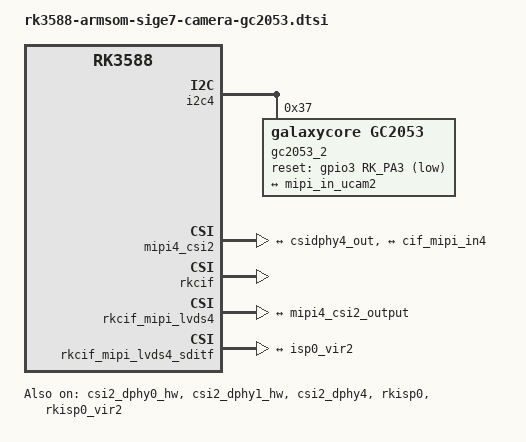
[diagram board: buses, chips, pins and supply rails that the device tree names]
// &i2c6 {
// 	status = "okay";

// 	gc2053_1: gc2053_1@37 {
// 		status = "okay";
// 		compatible = "galaxycore,gc2053";
// 		reg = <0x37>;
// 		clocks = <&cru CLK_MIPI_CAMARAOUT_M3>;
// 		clock-names = "xvclk";
// 		pinctrl-names = "default";
// 		pinctrl-0 = <&mipim0_camera3_clk>;
// 		power-domains = <&power RK3588_PD_VI>;
// 		rockchip,grf = <&sys_grf>;
// 		reset-gpios = <&gpio3 RK_PA3 GPIO_ACTIVE_LOW>;
// 		rockchip,camera-module-index = <0>;
// 		rockchip,camera-module-facing = "back";
// 		rockchip,camera-module-name = "SIDA209300461";
// 		rockchip,camera-module-lens-name = "60IRC-F20";
// 		port {
// 			gc2053_out1: endpoint {
// 				remote-endpoint = <&mipidphy1_in_ucam1>;
// 				data-lanes = <1 2>;
// 			};
// 		};
// 	};
// };

&i2c4 {
	status = "okay";
	pinctrl-names = "default";
	pinctrl-0 = <&i2c4m1_xfer>;
	gc2053_2: gc2053_2@37 {
		status = "okay";
		compatible = "galaxycore,gc2053";
		reg = <0x37>;
		clocks = <&cru CLK_MIPI_CAMARAOUT_M2>;
		clock-names = "xvclk";
		pinctrl-names = "default";
		pinctrl-0 = <&mipim0_camera2_clk>;
		power-domains = <&power RK3588_PD_VI>;
		rockchip,grf = <&sys_grf>;
		reset-gpios = <&gpio3 RK_PA3 GPIO_ACTIVE_LOW>;
		rockchip,camera-module-index = <0>;
		rockchip,camera-module-facing = "back";
		rockchip,camera-module-name = "SIDA209300461";
		rockchip,camera-module-lens-name = "60IRC-F20";
		port {
			gc2053_out2: endpoint {
				remote-endpoint = <&mipi_in_ucam2>;
				data-lanes = <1 2>;
			};
		};
	};

};

// &i2c7 {
// 	status = "okay";
// 	pinctrl-names = "default";
// 	pinctrl-0 = <&i2c7m3_xfer>;
// 	gc2053_3: gc2053_3@37 {
// 		status = "okay";
// 		compatible = "galaxycore,gc2053";
// 		reg = <0x37>;
// 		clocks = <&cru CLK_MIPI_CAMARAOUT_M1>;
// 		clock-names = "xvclk";
// 		pinctrl-names = "default";
// 		pinctrl-0 = <&mipim0_camera1_clk>;
// 		power-domains = <&power RK3588_PD_VI>;
// 		rockchip,grf = <&sys_grf>;
// 		reset-gpios = <&gpio4 RK_PA0 GPIO_ACTIVE_LOW>;
// 		rockchip,camera-module-index = <0>;
// 		rockchip,camera-module-facing = "back";
// 		rockchip,camera-module-name = "SIDA209300461";
// 		rockchip,camera-module-lens-name = "60IRC-F20";
// 		port {
// 			gc2053_out3: endpoint {
// 				remote-endpoint = <&mipi_in_ucam3>;
// 				data-lanes = <1 2>;
// 			};
// 		};
// 	};

// };

&csi2_dphy0_hw {
	status = "okay";
};

&csi2_dphy1_hw {
	status = "okay";
};

// &csi2_dphy1 {
// 	status = "okay";

// 	ports {
// 		#address-cells = <1>;
// 		#size-cells = <0>;

// 		port@0 {
// 			reg = <0>;
// 			#address-cells = <1>;
// 			#size-cells = <0>;

// 			mipi_in_ucam3: endpoint@1 {
// 				reg = <1>;
// 				remote-endpoint = <&gc2053_out3>;
// 				data-lanes = <1 2>;
// 			};

// 		};

// 		port@1 {
// 			reg = <1>;
// 			#address-cells = <1>;
// 			#size-cells = <0>;

// 			csidphy1_out: endpoint@0 {
// 				reg = <0>;
// 				remote-endpoint = <&mipi2_csi2_input>;
// 			};
// 		};
// 	};
// };

// &csi2_dphy2 {
// 	status = "okay";

// 	ports {
// 		#address-cells = <1>;
// 		#size-cells = <0>;
// 		port@0 {
// 			reg = <0>;
// 			#address-cells = <1>;
// 			#size-cells = <0>;

// 			mipidphy1_in_ucam1: endpoint@1 {
// 				reg = <1>;
// 				remote-endpoint = <&gc2053_out1>;
// 				data-lanes = <1 2>;
// 			};
// 		};
// 		port@1 {
// 			reg = <1>;
// 			#address-cells = <1>;
// 			#size-cells = <0>;

// 			csidphy2_out: endpoint@0 {
// 				reg = <0>;
// 				remote-endpoint = <&mipi3_csi2_input>;
// 			};
// 		};
// 	};
// };

&csi2_dphy4 {
	status = "okay";

	ports {
		#address-cells = <1>;
		#size-cells = <0>;
		port@0 {
			reg = <0>;
			#address-cells = <1>;
			#size-cells = <0>;

			mipi_in_ucam2: endpoint@1 {
				reg = <1>;
				remote-endpoint = <&gc2053_out2>;
				data-lanes = <1 2>;
			};
		};
		port@1 {
			reg = <1>;
			#address-cells = <1>;
			#size-cells = <0>;

			csidphy4_out: endpoint@0 {
				reg = <0>;
				remote-endpoint = <&mipi4_csi2_input>;
			};
		};
	};
};

// &mipi2_csi2 {
// 	status = "okay";

// 	ports {
// 		#address-cells = <1>;
// 		#size-cells = <0>;

// 		port@0 {
// 			reg = <0>;
// 			#address-cells = <1>;
// 			#size-cells = <0>;

// 			mipi2_csi2_input: endpoint@1 {
// 				reg = <1>;
// 				remote-endpoint = <&csidphy1_out>;
// 			};
// 		};

// 		port@1 {
// 			reg = <1>;
// 			#address-cells = <1>;
// 			#size-cells = <0>;

// 			mipi2_csi2_output: endpoint@0 {
// 				reg = <0>;
// 				remote-endpoint = <&cif_mipi2_in0>;
// 			};
// 		};
// 	};
// };

// &mipi3_csi2 {
// 	status = "okay";

// 	ports {
// 		#address-cells = <1>;
// 		#size-cells = <0>;

// 		port@0 {
// 			reg = <0>;
// 			#address-cells = <1>;
// 			#size-cells = <0>;

// 			mipi3_csi2_input: endpoint@1 {
// 				reg = <1>;
// 				remote-endpoint = <&csidphy2_out>;
// 			};
// 		};

// 		port@1 {
// 			reg = <1>;
// 			#address-cells = <1>;
// 			#size-cells = <0>;

// 			mipi3_csi2_output: endpoint@0 {
// 				reg = <0>;
// 				remote-endpoint = <&cif_mipi_in3>;
// 			};
// 		};
// 	};
// };

&mipi4_csi2 {
	status = "okay";

	ports {
		#address-cells = <1>;
		#size-cells = <0>;

		port@0 {
			reg = <0>;
			#address-cells = <1>;
			#size-cells = <0>;

			mipi4_csi2_input: endpoint@1 {
				reg = <1>;
				remote-endpoint = <&csidphy4_out>;
			};
		};

		port@1 {
			reg = <1>;
			#address-cells = <1>;
			#size-cells = <0>;

			mipi4_csi2_output: endpoint@0 {
				reg = <0>;
				remote-endpoint = <&cif_mipi_in4>;
			};
		};
	};
};

&rkcif {
	status = "okay";
};

// &rkcif_mipi_lvds2 {
// 	status = "okay";

// 	port {
// 		cif_mipi2_in0: endpoint {
// 			remote-endpoint = <&mipi2_csi2_output>;
// 		};
// 	};
// };

// &rkcif_mipi_lvds2_sditf {
// 	status = "okay";

// 	port {
// 		mipi2_lvds_sditf: endpoint {
// 			remote-endpoint = <&isp0_vir1>;
// 		};
// 	};
// };

// &rkcif_mipi_lvds3 {
// 	status = "okay";

// 	port {
// 		cif_mipi_in3: endpoint {
// 			remote-endpoint = <&mipi3_csi2_output>;
// 		};
// 	};
// };

// &rkcif_mipi_lvds3_sditf {
// 	status = "okay";

// 	port {
// 		mipi3_lvds_sditf: endpoint {
// 			remote-endpoint = <&isp1_vir1>;
// 		};
// 	};
// };

&rkcif_mipi_lvds4 {
	status = "okay";

	port {
		cif_mipi_in4: endpoint {
			remote-endpoint = <&mipi4_csi2_output>;
		};
	};
};

&rkcif_mipi_lvds4_sditf {
	status = "okay";

	port {
		mipi4_lvds_sditf: endpoint {
			remote-endpoint = <&isp0_vir2>;
		};
	};
};

&rkcif_mmu {
	status = "okay";
};

&rkisp0 {
	status = "okay";
};

&isp0_mmu {
	status = "okay";
};

// &rkisp0_vir1 {
// 	status = "okay";

// 	port {
// 		#address-cells = <1>;
// 		#size-cells = <0>;

// 		isp0_vir1: endpoint@0 {
// 			reg = <0>;
// 			remote-endpoint = <&mipi2_lvds_sditf>;
// 		};
// 	};
// };

&rkisp0_vir2 {
	status = "okay";

	port {
		#address-cells = <1>;
		#size-cells = <0>;

		isp0_vir2: endpoint@0 {
			reg = <0>;
			remote-endpoint = <&mipi4_lvds_sditf>;
		};
	};
};

// &rkisp1_vir1 {
// 	status = "okay";

// 	port {
// 		#address-cells = <1>;
// 		#size-cells = <0>;

// 		isp1_vir1: endpoint@0 {
// 			reg = <0>;
// 			remote-endpoint = <&mipi3_lvds_sditf>;
// 		};
// 	};
// };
